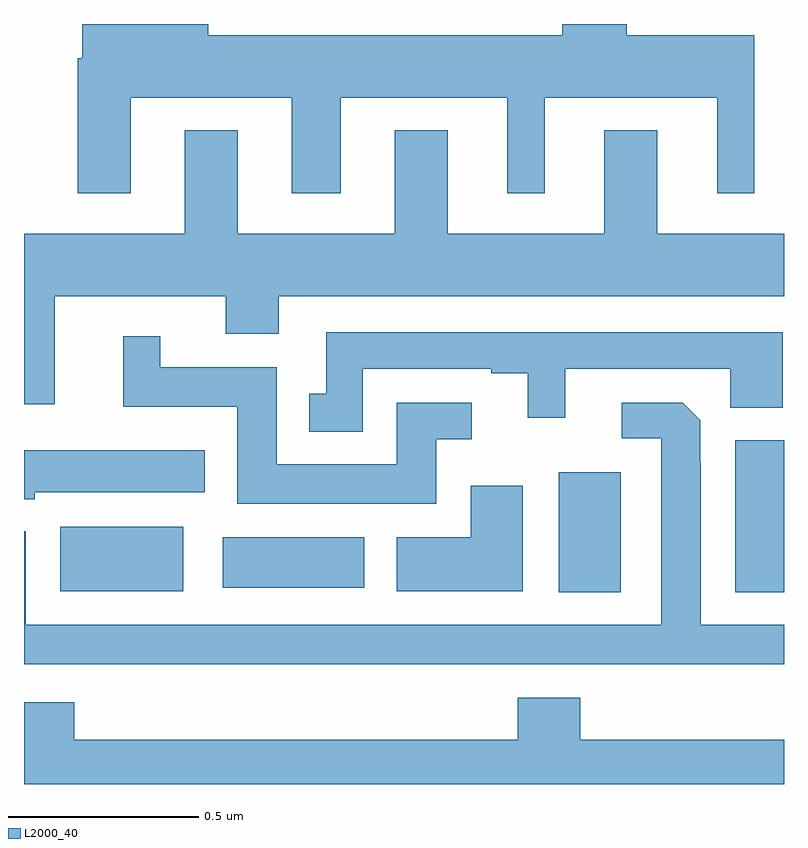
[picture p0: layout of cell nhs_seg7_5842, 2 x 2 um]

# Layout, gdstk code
import gdstk
lib = gdstk.Library(unit=1e-6, precision=1e-09)
def R(c, l, rs):  # rectangles x0, y0, x1, y1
    for r in rs: c.add(gdstk.rectangle(r[:2], r[2:], *l))
def P(c, l, *ps):  # polygons
    for p in ps: c.add(gdstk.Polygon(p, *l))
L2000_40 = (2000, 40)

nhs_seg7_5842 = lib.new_cell('nhs_seg7_5842')
R(nhs_seg7_5842, L2000_40, [(192.407,998.504,192.571,998.821), (192.872,998.504,193,998.905), (191.096,998.507,191.419,998.677), (191.523,998.516,191.896,998.65)])
P(nhs_seg7_5842, L2000_40, [(191.281,999.806),(191.705,999.806),(191.705,999.555),(191.833,999.555),(191.833,999.806),(192.272,999.806),(192.272,999.555),(192.37,999.555),(192.37,999.806),(192.824,999.806),(192.824,999.555),(192.922,999.555),(192.922,999.97),(192.586,999.97),(192.586,1000),(192.416,1000),(192.416,999.97),(191.485,999.97),(191.485,1000),(191.153,1000),(191.153,999.91),(191.141,999.91),(191.141,999.555),(191.281,999.555)],
  [(191.081,999.284),(191.531,999.284),(191.531,999.185),(191.671,999.185),(191.671,999.284),(193,999.284),(193,999.448),(192.667,999.448),(192.667,999.721),(192.527,999.721),(192.527,999.448),(192.115,999.448),(192.115,999.721),(191.975,999.721),(191.975,999.448),(191.563,999.448),(191.563,999.721),(191.423,999.721),(191.423,999.448),(191,999.448),(191,999),(191.081,999)],
  [(191.892,999.093),(192.23,999.093),(192.23,999.081),(192.326,999.081),(192.326,998.964),(192.424,998.964),(192.424,999.093),(192.858,999.093),(192.858,998.99),(192.997,998.99),(192.997,999.189),(191.796,999.189),(191.796,999.027),(191.75,999.027),(191.75,998.927),(191.892,998.927)],
  [(192.085,998.907),(192.178,998.907),(192.178,999.003),(191.981,999.003),(191.981,998.842),(191.665,998.842),(191.665,999.097),(191.359,999.097),(191.359,999.178),(191.261,999.178),(191.261,998.993),(191.561,998.993),(191.561,998.738),(192.085,998.738)],
  [(193,998.419),(192.781,998.419),(192.781,998.846),(192.78,998.846),(192.78,998.957),(192.734,999.003),(192.573,999.003),(192.573,998.91),(192.677,998.91),(192.677,998.419),(191.004,998.419),(191.004,998.665),(191,998.665),(191,998.315),(193,998.315)],
  [(191.028,998.768),(191.476,998.768),(191.476,998.878),(191,998.878),(191,998.75),(191.028,998.75)],
  [(192.313,998.785),(192.176,998.785),(192.176,998.65),(191.981,998.65),(191.981,998.507),(192.313,998.507)],
  [(193,998.116),(192.464,998.116),(192.464,998.227),(192.299,998.227),(192.299,998.116),(191.132,998.116),(191.132,998.215),(191,998.215),(191,998),(193,998)])

lib.write_gds('nhs_seg7_5842.gds')
